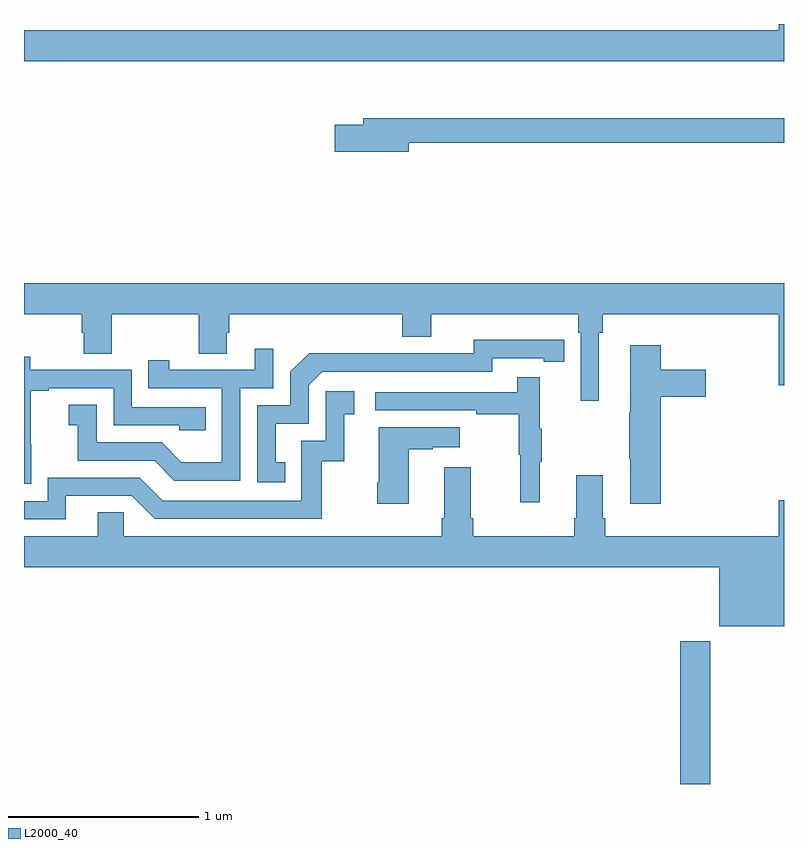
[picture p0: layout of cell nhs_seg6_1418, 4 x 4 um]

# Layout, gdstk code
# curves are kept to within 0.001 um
import gdstk
lib = gdstk.Library(unit=1e-6, precision=1e-09)
def R(c, l, rs):  # rectangles x0, y0, x1, y1
    for r in rs: c.add(gdstk.rectangle(r[:2], r[2:], *l))
def P(c, l, *ps):  # polygons
    for p in ps: c.add(gdstk.Polygon(p, *l))
L2000_40 = (2000, 40)

nhs_seg6_1418 = lib.new_cell('nhs_seg6_1418')
R(nhs_seg6_1418, L2000_40, [(200.453,975.5,200.613,976.252)])
P(nhs_seg6_1418, L2000_40, [(201,979.5),(200.972,979.5),(200.972,979.468),(197,979.468),(197,979.304),(201,979.304)],
  [(199.024,978.874),(201,978.874),(201,979.003),(198.785,979.003),(198.785,978.969),(198.636,978.969),(198.636,978.827),(199.024,978.827)],
  [(200.026,977.876),(200.045,977.876),(200.045,977.972),(200.972,977.972),(200.972,977.598),(201,977.598),(201,978.136),(197,978.136),(197,977.972),(197.303,977.972),(197.303,977.874),(197.315,977.874),(197.315,977.764),(197.463,977.764),(197.463,977.972),(197.92,977.972),(197.92,977.764),(198.067,977.764),(198.067,977.874),(198.08,977.874),(198.08,977.972),(198.992,977.972),(198.992,977.855),(199.144,977.855),(199.144,977.972),(199.916,977.972),(199.916,977.876),(199.929,977.876),(199.929,977.517),(200.026,977.517)],
  [(198.374,977.193),(198.325,977.193),(198.325,977.397),(198.498,977.397),(198.498,977.598),(198.57,977.67),(199.464,977.67),(199.464,977.742),(199.736,977.742),(199.736,977.722),(199.844,977.722),(199.844,977.838),(199.368,977.839),(199.368,977.766),(198.908,977.766),(198.908,977.768),(198.5,977.768),(198.402,977.67),(198.402,977.493),(198.228,977.493),(198.228,977.088),(198.374,977.088)],
  [(200.351,977.537),(200.587,977.537),(200.587,977.679),(200.351,977.679),(200.351,977.809),(200.192,977.809),(200.192,977.453),(200.185,977.453),(200.185,977.212),(200.192,977.212),(200.192,976.974),(200.351,976.974)],
  [(198.138,977.583),(198.312,977.583),(198.312,977.791),(198.215,977.791),(198.215,977.679),(197.764,977.679),(197.764,977.731),(197.653,977.731),(197.653,977.583),(198.042,977.583),(198.042,977.194),(197.828,977.194),(197.724,977.298),(197.382,977.298),(197.382,977.497),(197.235,977.497),(197.235,977.387),(197.284,977.387),(197.284,977.202),(197.687,977.202),(197.792,977.097),(198.138,977.097)],
  [(197.037,977.287),(197.036,977.287),(197.036,977.571),(197.131,977.571),(197.131,977.583),(197.472,977.583),(197.472,977.388),(197.817,977.388),(197.817,977.361),(197.957,977.361),(197.957,977.484),(197.568,977.484),(197.568,977.679),(197.034,977.679),(197.034,977.748),(197,977.748),(197,977.081),(197.037,977.081)],
  [(199.715,977.195),(199.726,977.195),(199.726,977.369),(199.715,977.369),(199.715,977.641),(199.597,977.641),(199.597,977.562),(198.849,977.562),(198.849,977.466),(199.381,977.466),(199.381,977.446),(199.605,977.446),(199.605,977.232),(199.612,977.232),(199.612,976.983),(199.715,976.983)],
  [(197.221,977.016),(197.568,977.016),(197.688,976.896),(198.568,976.896),(198.568,977.199),(198.686,977.199),(198.686,977.445),(198.739,977.445),(198.739,977.566),(198.588,977.566),(198.588,977.307),(198.459,977.307),(198.459,976.992),(197.73,976.992),(197.61,977.112),(197.124,977.112),(197.124,976.989),(197,976.989),(197,976.893),(197.221,976.893)],
  [(199.024,977.263),(199.151,977.263),(199.151,977.273),(199.294,977.273),(199.294,977.377),(198.866,977.377),(198.866,977.086),(198.859,977.086),(198.859,976.974),(199.024,976.974)],
  [(201,976.993),(200.972,976.993),(200.972,976.804),(200.06,976.804),(200.06,976.9),(200.047,976.9),(200.047,977.125),(199.907,977.125),(199.907,976.9),(199.895,976.9),(199.895,976.804),(199.364,976.804),(199.364,976.9),(199.351,976.9),(199.351,977.167),(199.211,977.167),(199.211,976.9),(199.199,976.9),(199.199,976.804),(197.526,976.804),(197.526,976.931),(197.387,976.931),(197.387,976.804),(197,976.804),(197,976.64),(200.66,976.64),(200.66,976.331),(201,976.331)])

lib.write_gds('nhs_seg6_1418.gds')
